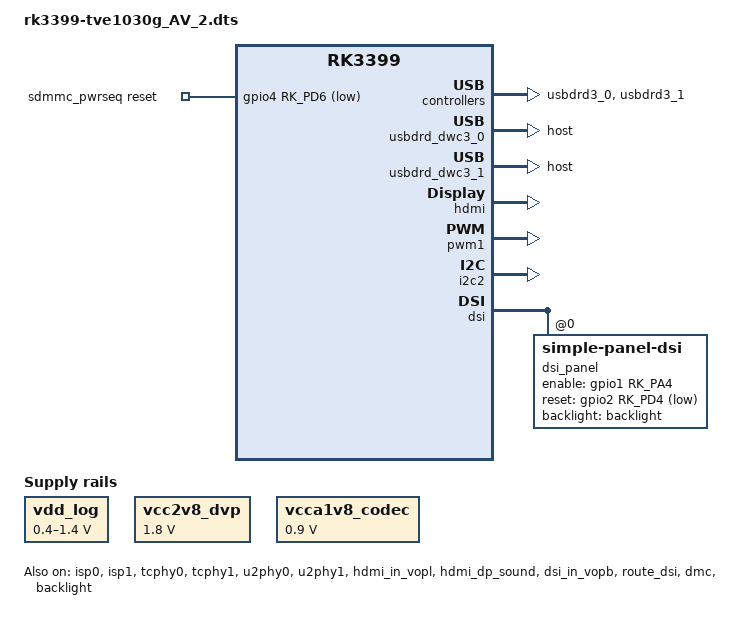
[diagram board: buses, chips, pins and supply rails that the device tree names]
/*
 * Copyright (c) 2018 Fuzhou Rockchip Electronics Co., Ltd
 *
 * SPDX-License-Identifier: (GPL-2.0+ OR MIT)
 */

/dts-v1/;
#include "rk3399-tve1030g_AV.dtsi"
//#include "rk3399-firefly-core.dtsi"
//#include "rk3399-firefly-aioc-ai.dtsi" 
/ {
	compatible = "rockchip,rk3399-tve1030g", "rockchip,rk3399";

	test-power {
		status = "okay";
	};

    sdmmc_pwrseq: sdmmc-pwrseq {
        compatible = "mmc-pwrseq-simple";
        clocks = <&rk808 1>;
        clock-names = "ext_clock";
        pinctrl-names = "default";
        pinctrl-0 = <&sdcard_enable_h>;
        /*
         * On the module itself this is one of these (depending
         * on the actual card populated):
         * - SDIO_RESET_L_WL_REG_ON
         * - PDN (power down when low)
         */
        reset-gpios = <&gpio4 RK_PD6 GPIO_ACTIVE_LOW>; /* GPIO4_D6 */
    };


};

&firmware_android {
	compatible = "android,firmware";
	boot_devices = "fe330000.sdhci";
	vbmeta {
		compatible = "android,vbmeta";
		parts = "vbmeta,boot,system,vendor,dtbo";
	};
	fstab {
		compatible = "android,fstab";
		vendor {
			compatible = "android,vendor";
			dev = "/dev/block/by-name/vendor";
			type = "ext4";
			mnt_flags = "ro,barrier=1,inode_readahead_blks=8";
			fsmgr_flags = "wait,avb";
		};
	};
};

&isp0 {
	status = "okay";
};

&isp1 {
	status = "okay";
};



&tcphy0 {
    /delete-property/ extcon;
    status = "okay";
};

&tcphy1 {
    /delete-property/ extcon;
    status = "okay";

};

&u2phy0 {
    status = "okay";
    /delete-property/ extcon;

    u2phy0_otg: otg-port {
        rockchip,vbus-always-on;
        vbus-5v-gpios = <&gpio1 RK_PA0 GPIO_ACTIVE_HIGH>;
        status = "okay";
    };
};

&u2phy1 {
    status = "okay";
    /delete-property/ extcon;

    u2phy1_otg: otg-port {
        rockchip,vbus-always-on;
        status = "okay";
    };
};

&usbdrd3_0 {
    status = "okay";
    /delete-property/ extcon;
};

&usbdrd_dwc3_0 {
    dr_mode = "host";
};

&usbdrd3_1 {
    status = "okay";
    /delete-property/ extcon;
};

&usbdrd_dwc3_1 {
    dr_mode = "host";
};



&vdd_log {
    regulator-min-microvolt = <400000>;
    regulator-max-microvolt = <1400000>;
    rockchip,pwm_voltage = <1000000>;
};

&vcc2v8_dvp {
	regulator-min-microvolt = <1800000>;
	regulator-max-microvolt = <1800000>;
};

&vcc_sd {
	regulator-max-microvolt = <3000000>;
	regulator-state-mem {
		regulator-suspend-microvolt = <3000000>;
	};
};

&vcca1v8_codec {
	regulator-min-microvolt = <900000>;
	regulator-max-microvolt = <900000>;
};
&hdmi {
    status = "okay";
};

&hdmi_in_vopb {
        status = "disabled";
};
&hdmi_in_vopl {
        status = "okay";
};

&route_hdmi {
	status = "disabled";
	logo,mode = "center";
};

&hdmi_dp_sound {
    status = "okay";
};


&dp_in_vopb {
    status = "disabled";
};
&dsi_in_vopl {
	status = "disabled";
};

&dsi_in_vopb {
	status = "okay";
};

&route_dsi {
	status = "okay";
	logo,mode = "center";
};

&pwm1 {
	status = "okay";
};

&dmc {
	status = "okay";
	system-status-freq = <
		/*system status         freq(KHz)*/
		SYS_STATUS_NORMAL       856000
		SYS_STATUS_REBOOT       416000
		SYS_STATUS_SUSPEND      416000
		SYS_STATUS_VIDEO_1080P  856000
		SYS_STATUS_VIDEO_4K     856000
		SYS_STATUS_VIDEO_4K_10B 856000
		SYS_STATUS_PERFORMANCE  856000
		SYS_STATUS_BOOST        856000
		SYS_STATUS_DUALVIEW     856000
		SYS_STATUS_ISP          856000
	>;
	vop-bw-dmc-freq = <
	/* min_bw(MB/s) max_bw(MB/s) freq(KHz) */
		0       577      416000
		578     99999    856000
	>;
	auto-min-freq = <416000>;
	auto-freq-en = <0>;
};

&dmc_opp_table {
	compatible = "operating-points-v2";

	opp-200000000 {
		opp-hz = /bits/ 64 <200000000>;
		opp-microvolt = <825000>;
		status = "disabled";
	};
	opp-300000000 {
		opp-hz = /bits/ 64 <300000000>;
		opp-microvolt = <850000>;
		status = "disabled";
	};
	opp-400000000 {
		opp-hz = /bits/ 64 <400000000>;
		opp-microvolt = <900000>;
		status = "disabled";
	};
	opp-416000000 {
		opp-hz = /bits/ 64 <416000000>;
		opp-microvolt = <900000>;
	};
	opp-528000000 {
		opp-hz = /bits/ 64 <528000000>;
		opp-microvolt = <900000>;
		status = "disabled";
	};
	opp-600000000 {
		opp-hz = /bits/ 64 <600000000>;
		opp-microvolt = <900000>;
		status = "disabled";
	};
	opp-800000000 {
		opp-hz = /bits/ 64 <800000000>;
		opp-microvolt = <900000>;
		status = "disabled";
	};
	opp-856000000 {
		opp-hz = /bits/ 64 <856000000>;
		opp-microvolt = <900000>;
	};
	opp-928000000 {
		opp-hz = /bits/ 64 <928000000>;
		opp-microvolt = <900000>;
		status = "disabled";
	};
	opp-1056000000 {
		opp-hz = /bits/ 64 <1056000000>;
		opp-microvolt = <900000>;
		status = "disabled";
	};
};

&pinctrl {
	sdio-pwrseq {
		wifi_enable_h: wifi-enable-h {
			rockchip,pins =
				<0 RK_PA2 RK_FUNC_GPIO &pcfg_pull_none>;
		};
	};

	usb3 {
		usb3host_vbus_drv: usb3host_vbus_drv {
			rockchip,pins =
				<4 RK_PD5 RK_FUNC_GPIO &pcfg_pull_none>;
		};
	};
    sdmmc-pwrseq {
        sdcard_enable_h: sdcard-enable-h {
        rockchip,pins = <4 30 RK_FUNC_GPIO &pcfg_pull_none>;
        };
    };
};


/*---------------*/

&sdmmc {
    mmc-pwrseq = <&sdmmc_pwrseq>;
    sd-uhs-sdr104;
};
&i2c2 {
    status = "okay";
    i2c-scl-rising-time-ns = <300>;
    i2c-scl-falling-time-ns = <15>;
};

&io_domains {
	bt656-supply = <&vcc_3v0>;
};

&uart4 {
    status = "disabled";
};
&spi1 {
	status = "disabled";
};
/*
&vcc3v3_3g {
    gpio = <&gpio2 RK_PA6 GPIO_ACTIVE_HIGH>;
};*/

&gmac {
    tx_delay = <0x2F>;
    rx_delay = <0x26>;
};

/*
&spidev0 {
	status = "disabled";
};*/

&fusb0 {
    status = "disabled";
};

&cdn_dp {
    status = "disabled";
};


&backlight {
        status = "okay";
    pwms = <&pwm1 0 25000 0>; 
    enable-gpios = <&gpio1 RK_PA1 GPIO_ACTIVE_HIGH>;
                default-brightness-level = <200>;
                polarity = <1>;
                brightness-levels = <
                          0   1   2   3   4   5   6   7
                          8   9  10  11  12  13  14  15
                         16  17  18  19  20  21  22  23
                         24  25  26  27  28  29  30  31
                         32  33  34  35  36  37  38  39
                         40  41  42  43  44  45  46  47
                         48  49  50  51  52  53  54  55
                         56  57  58  59  60  61  62  63
                         64  65  66  67  68  69  70  71
                         72  73  74  75  76  77  78  79
                         80  81  82  83  84  85  86  87
                         88  89  90  91  92  93  94  95
                         96  97  98  99 100 101 102 103
                        104 105 106 107 108 109 110 111
                        112 113 114 115 116 117 118 119
                        120 121 122 123 124 125 126 127
                        128 129 130 131 132 133 134 135
                        136 137 138 139 140 141 142 143
                        144 145 146 147 148 149 150 151
                        152 153 154 155 156 157 158 159
                        160 161 162 163 164 165 166 167
                        168 169 170 171 172 173 174 175
                        176 177 178 179 180 181 182 183
                        184 185 186 187 188 189 190 191
                        192 193 194 195 196 197 198 199
                        200 201 202 203 204 205 206 207
                        208 209 210 211 212 213 214 215
                        216 217 218 219 220 221 222 223
                        224 225 226 227 228 229 230 231
                        232 233 234 235 236 237 238 239
                        240 241 242 243 244 245 246 247
                        248 249 250 251 252 253 254 255>; 
};
&dsi {
        status = "okay";
        dsi_panel: panel {
                compatible ="simple-panel-dsi";
                reg = <0>;
                backlight = <&backlight>;
                
                enable-gpios = <&gpio1 RK_PA4 GPIO_ACTIVE_HIGH>;
                reset-gpios = <&gpio2 RK_PD4 GPIO_ACTIVE_LOW>;
                
                dsi,flags = <(MIPI_DSI_MODE_VIDEO | MIPI_DSI_MODE_VIDEO_BURST)>;
                dsi,format = <MIPI_DSI_FMT_RGB888>;
		bus-format = <MEDIA_BUS_FMT_RGB666_1X18>;
                dsi,lanes = <4>;

        dsi,channel = <0>;


        unprepare-delay-ms = <0>;
        disable-delay-ms = <20>;
	reset-delay-ms = <20>;
	init-delay-ms = <20>;
	enable-delay-ms = <120>;
	prepare-delay-ms = <120>;
                
        size,width = <120>;
        size,height = <170>;

        status = "okay";
/*
panel-init-sequence = [                 
	15 05  02  B0 0F       
	15 05  02  CD AA       
	15 05  02  30 00    
	15 05  02  32 00        
	15 05  02  33 08        
	15 05  02  3A 8F        
	15 05  02  3D 60        
	15 05  02  3F 1F       
	15 05  02  40 0F        
	15 05  02  30 01       
	15 05  02  00 01       
	15 05  02  31 66       
	15 05  02  32 10       
	15 05  02  33 74        
	15 05  02  35 00       
	15 05  02  36 01        
	39 05  0D  3A 00 00 10 10 00 00 10 10 00 00 10 10       
	39 05  0C  3B 22 19 1D 23 23 21 20 17 15 13 11       
	39 05  0B  3C 0F 0D 0B 09 05 01 23 23 23 00      
	39 05  0C  3D 22 18 1C 23 23 21 20 16 14 12 10       
	39 05  0B  3E 0E 0C 0A 08 04 00 23 23 23 00       
	15 05  02  3F 01       
	15 05  02  40 B8       
	15 05  02  41 01       
	15 05  02  46 87       
	15 05  02  30 02       
	39 05  0B  3A 3E 30 2C 2A 33 32 31 33 38 3B       
	39 05  08  3B 39 37 35 29 1A 0D 00        
	39 05  0B  3C 3E 30 2C 2A 33 32 31 33 38 3B       
	39 05  08  3D 39 37 35 29 1A 0D 00 
	15 05  02  30 07       
	15 05  02  35 B8     
	15 05  02  30 08        
	15 05  02  5C 20       
	15 05  02  5D 00        
	15 05  02  30 0A        
	15 05  02  39 05       
	15 05  02  3A 1D       
	15 05  02  4C 04       
	15 05  02  30 08       
	15 05  02  33 12        
	15 05  02  30 01        
	15 05  02  37 66        
	15 05  02  30 05        
	15 05  02  31 19       
	15 05  02  30 0F       
	05 78  01  11
	05 05 01 29
];*/

	
		panel-init-sequence = [	
		15 05 02 B0 01   
		15 05 02 C0 26   
		15 05 02 C1 10   
		15 05 02 C2 0E   
		15 05 02 C3 00   
		15 05 02 C4 00   
		15 05 02 C5 23   
		15 05 02 C6 11   
		15 05 02 C7 22   
		15 05 02 C8 20   
		15 05 02 C9 1E   
		15 05 02 CA 1C   
		15 05 02 CB 0C   
		15 05 02 CC 0A   
		15 05 02 CD 08   
		15 05 02 CE 06   
		15 05 02 CF 18   
		15 05 02 D0 02   
		15 05 02 D1 00   
		15 05 02 D2 00   
		15 05 02 D3 00   
		15 05 02 D4 26   
		15 05 02 D5 0F   
		15 05 02 D6 0D   
		15 05 02 D7 00   
		15 05 02 D8 00   
		15 05 02 D9 23   
		15 05 02 DA 11   
		15 05 02 DB 21   
		15 05 02 DC 1F   
		15 05 02 DD 1D   
		15 05 02 DE 1B   
		15 05 02 DF 0B   
		15 05 02 E0 09   
		15 05 02 E1 07   
		15 05 02 E2 05   
		15 05 02 E3 17   
		15 05 02 E4 01   
		15 05 02 E5 00   
		15 05 02 E6 00   
		15 05 02 E7 00   
		15 05 02 B0 03   
		15 05 02 BE 04   
		15 05 02 B9 40   
		15 05 02 CC 88   
		15 05 02 C8 0C   
		15 05 02 C9 07   
		15 05 02 CD 01   
		15 05 02 CA 40   
		15 05 02 CE 1A   
		15 05 02 CF 60   
		15 05 02 D2 08   
		15 05 02 D3 08   
		15 05 02 DB 01   
		15 05 02 D9 06   
		15 05 02 D4 00   
		15 05 02 D5 01   
		15 05 02 D6 04   
		15 05 02 D7 03   
		15 05 02 C2 00   
		15 05 02 C3 0E   
		15 05 02 C4 00   
		15 05 02 C5 0E   
		15 05 02 DD 00   
		15 05 02 DE 0E   
		15 05 02 E6 00   
		15 05 02 E7 0E   
		15 05 02 C2 00   
		15 05 02 C3 0E   
		15 05 02 C4 00   
		15 05 02 C5 0E   
		15 05 02 DD 00   
		15 05 02 DE 0E   
		15 05 02 E6 00   
		15 05 02 E7 0E   
		15 05 02 B0 06   
		15 05 02 C0 A5   
		15 05 02 D5 1C   
		15 05 02 C0 00   
		15 05 02 B0 00   
		15 05 02 F9 5C   
		15 05 02 C2 14   
		15 05 02 C4 14   
		15 05 02 BF 15   
		15 05 02 BD 22   
		15 05 02 C0 0C  
		05 05 01 11
		05 05 01 29
		];

                panel-exit-sequence = [
                        05 05 01 28
                        05 78 01 10
                ];
                
                power_ctr: power_ctr {
                rockchip,debug = <0>;
                power_enable = <1>;
	
                };

                disp_timings: display-timings {
                                          native-mode = <&timing0>;
                                       /*   timing0: timing0 {
                                                       clock-frequency = <166000000>; //166000000 @50
                                                       hactive = <1200>;
                                                       vactive = <1920>;
                                                       hsync-len = <24>;   //20, 50
                                                       hback-porch = <80>; //50, 56
                                                       hfront-porch = <60>;//50, 30 //1580
                                                       vsync-len = <2>;
                                                       vback-porch = <10>;
                                                       vfront-porch = <14>;
                                                       hsync-active = <0>;
                                                       vsync-active = <0>;
                                                       de-active = <0>;
                                                       pixelclk-active = <0>;
                                                   };*/
					timing0: timing0 { 
						clock-frequency = <158000000>;
						hactive = <1200>;
						vactive = <1920>;
						hback-porch = <40>;
						hfront-porch = <80>;
						vback-porch = <16>;
						vfront-porch = <20>;
						hsync-len = <10>;
						vsync-len = <4>;
						hsync-active = <0>;
						vsync-active = <0>;
						screen-width=<135>;
						screen-hight=<216>;
						de-active = <0>;
					
					};//YH
                                      };
        };

};


